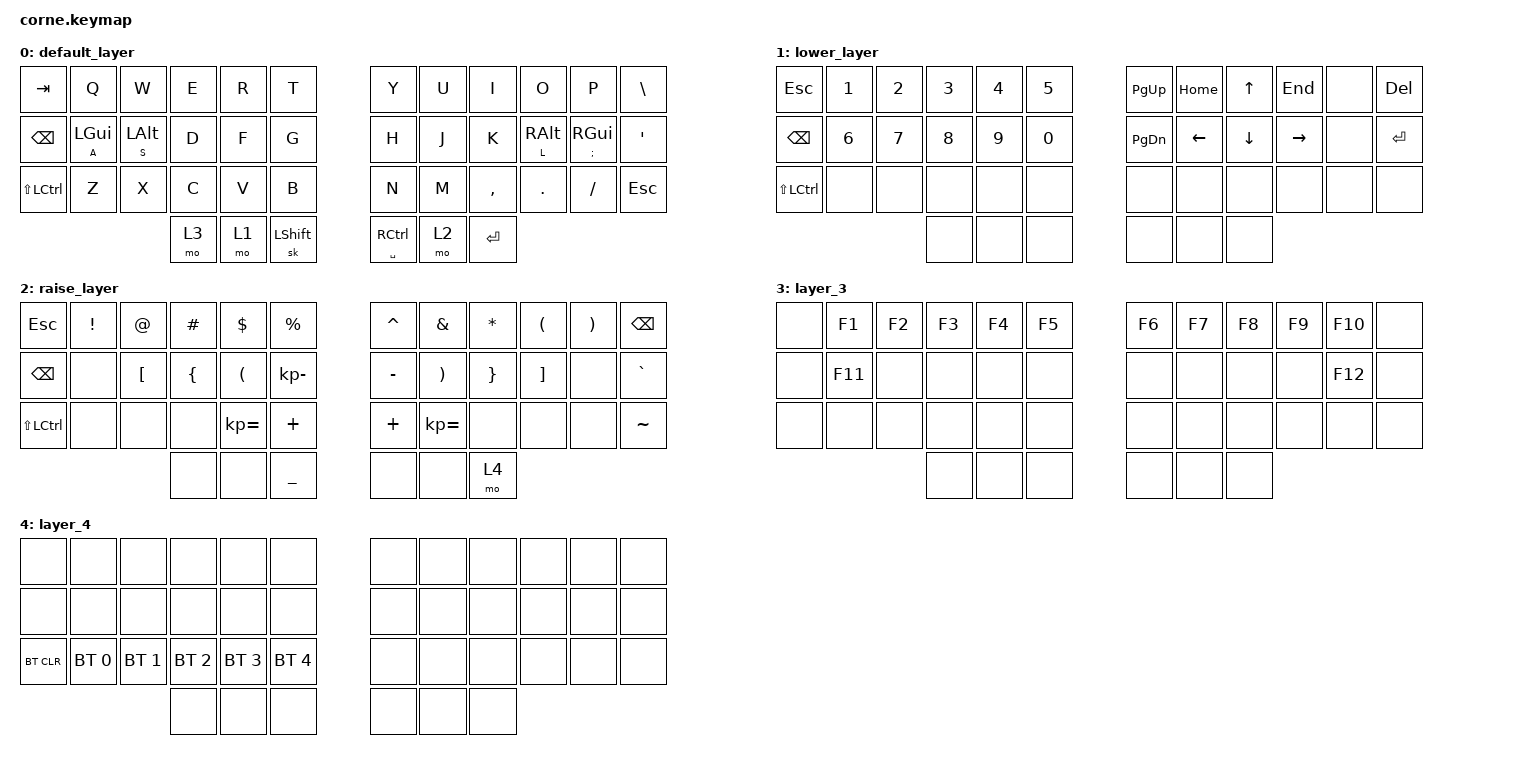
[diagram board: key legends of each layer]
/*
 * Copyright (c) 2020 The ZMK Contributors
 *
 * SPDX-License-Identifier: MIT
 */

#include <behaviors.dtsi>
#include <dt-bindings/zmk/bt.h>
#include <dt-bindings/zmk/keys.h>

/ {
    keymap {
        compatible = "zmk,keymap";

        default_layer {
            // -----------------------------------------------------------------------------------------
            // |  TAB |  Q  |  W  |  E  |  R  |  T  |   |  Y  |  U   |  I  |  O  |  P  | BKSP |
            // | CTRL |  A  |  S  |  D  |  F  |  G  |   |  H  |  J   |  K  |  L  |  ;  |  '   |
            // | SHFT |  Z  |  X  |  C  |  V  |  B  |   |  N  |  M   |  ,  |  .  |  /  | ESC  |
            //                    | GUI | LWR | SPC |   | ENT | RSE  | ALT |

            bindings = <
&kp TAB        &kp Q           &kp W           &kp E  &kp R  &kp T             &kp Y            &kp U  &kp I      &kp O            &kp P                    &kp BACKSLASH
&kp BACKSPACE  &mt A LEFT_GUI  &mt S LEFT_ALT  &kp D  &kp F  &kp G             &kp H            &kp J  &kp K      &mt L RIGHT_ALT  &mt SEMICOLON RIGHT_GUI  &kp SQT
&kp LS(LCTRL)  &kp Z           &kp X           &kp C  &kp V  &kp B             &kp N            &kp M  &kp COMMA  &kp DOT          &kp FSLH                 &kp ESC
                                               &mo 3  &mo 1  &sk LEFT_SHIFT    &mt SPACE RCTRL  &mo 2  &kp ENTER
            >;
        };

        lower_layer {
            // -----------------------------------------------------------------------------------------
            // |  TAB |  1  |  2  |  3  |  4  |  5  |   |  6  |  7  |  8  |  9  |  0  | BKSP |
            // | BTCLR| BT1 | BT2 | BT3 | BT4 | BT5 |   | LFT | DWN |  UP | RGT |     |      |
            // | SHFT |     |     |     |     |     |   |     |     |     |     |     |      |
            //                    | GUI |     | SPC |   | ENT |     | ALT |

            bindings = <
&kp ESCAPE     &kp N1  &kp N2  &kp N3  &kp N4  &kp N5    &kp PG_UP      &kp HOME  &kp UP_ARROW  &kp END    &none  &kp DELETE
&kp BACKSPACE  &kp N6  &kp N7  &kp N8  &kp N9  &kp N0    &kp PAGE_DOWN  &kp LEFT  &kp DOWN      &kp RIGHT  &none  &kp ENTER
&kp LS(LCTRL)  &none   &none   &none   &none   &none     &none          &none     &none         &none      &none  &none
                               &none   &none   &none     &none          &none     &none
            >;
        };

        raise_layer {
            // -----------------------------------------------------------------------------------------
            // |  TAB |  !  |  @  |  #  |  $  |  %  |   |  ^  |  &  |  *  |  (  |  )  | BKSP |
            // | CTRL |     |     |     |     |     |   |  -  |  =  |  [  |  ]  |  \  |  `   |
            // | SHFT |     |     |     |     |     |   |  _  |  +  |  {  |  }  | "|" |  ~   |
            //                    | GUI |     | SPC |   | ENT |     | ALT |

            bindings = <
&kp ESCAPE     &kp EXCL  &kp AT            &kp HASH        &kp DLLR              &kp PRCNT       &kp CARET  &kp AMPS               &kp ASTERISK     &kp LPAR  &kp RPAR  &kp BSPC
&kp BACKSPACE  &none     &kp LEFT_BRACKET  &kp LEFT_BRACE  &kp LEFT_PARENTHESIS  &kp KP_MINUS    &kp MINUS  &kp RIGHT_PARENTHESIS  &kp RIGHT_BRACE  &kp RBKT  &none     &kp GRAVE
&kp LS(LCTRL)  &none     &none             &none           &kp KP_EQUAL          &kp PLUS        &kp PLUS   &kp KP_EQUAL           &none            &none     &none     &kp TILDE
                                           &none           &none                 &kp UNDER       &none      &none                  &mo 4
            >;
        };

        layer_3 {
            bindings = <
&none  &kp F1   &kp F2  &kp F3  &kp F4  &kp F5    &kp F6  &kp F7  &kp F8  &kp F9  &kp F10  &none
&none  &kp F11  &none   &none   &none   &none     &none   &none   &none   &none   &kp F12  &none
&none  &none    &none   &none   &none   &none     &none   &none   &none   &none   &none    &none
                        &none   &none   &none     &none   &none   &none
            >;
        };

        layer_4 {
            bindings = <
&none       &none         &none         &none         &none         &none           &none  &none  &none  &none  &none  &none
&none       &none         &none         &none         &none         &none           &none  &none  &none  &none  &none  &none
&bt BT_CLR  &bt BT_SEL 0  &bt BT_SEL 1  &bt BT_SEL 2  &bt BT_SEL 3  &bt BT_SEL 4    &none  &none  &none  &none  &none  &none
                                        &none         &none         &none           &none  &none  &none
            >;
        };
    };
};
